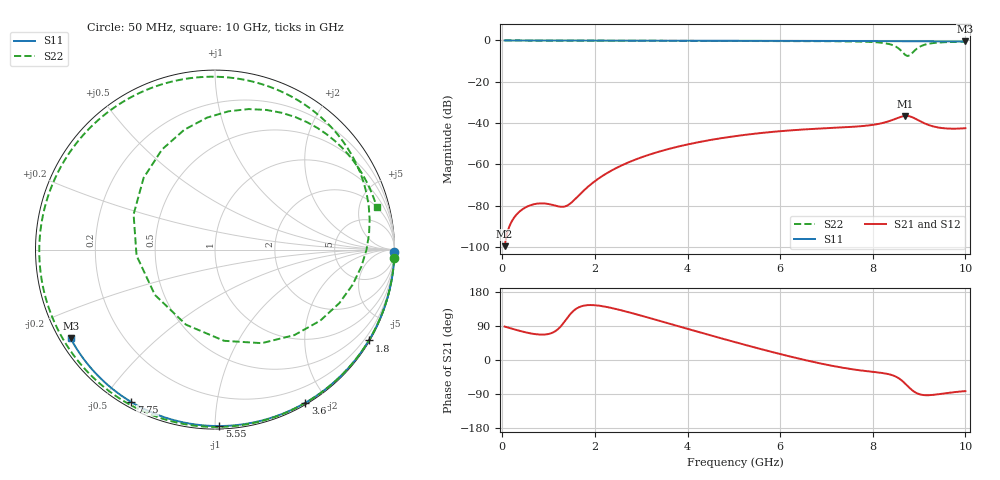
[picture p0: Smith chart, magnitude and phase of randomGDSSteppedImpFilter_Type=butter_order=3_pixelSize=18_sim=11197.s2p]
! freq	dB(S11)	phase(S11)	dB(S12)	phase(S12)
!  dB(S21)	phase(S21)	dB(S22)	phase(S22)
!S-par simulation data
#  GHz  S  DB  R 50
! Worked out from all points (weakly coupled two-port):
!   200 points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, 50 MHz to 10 GHz, reference 50 ohm
!   highest |S21| = -36.55 dB at 8.7 GHz (marker M1); lowest = -99.6 dB at 50 MHz (marker M2)
!   lowest |S11| = -0.5 dB at 10 GHz (marker M3), VSWR 34.98, Z = 1.54 - j14.1 ohm
!   |S11| at or under -10 dB: nowhere
!   |S22| runs from -7.5 to 0.0 dB; largest |S21 - S12| = 0
!   S11 on the Smith chart (normalised r, x): 50 MHz: open; 1.8 GHz: 0.03, -3.66; 3.6 GHz: 0.02, -1.75; 5.55 GHz: 0.02, -1.02; 7.75 GHz: 0.02, -0.59; 10 GHz: 0.03, -0.28
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0.05  -0.00 -0.9  -99.61 88.2  -99.61 88.2  -0.00 -2.8
0.8  -0.02 -13.7  -78.92 67.2  -78.92 67.2  -0.06 -43.9
1.4  -0.03 -23.9  -79.98 110.4  -79.98 110.4  -0.09 -74.4
1.75  -0.04 -29.7  -72.88 143.1  -72.88 143.1  -0.10 -90.8
1.8  -0.04 -30.5  -71.84 144.2  -71.84 144.2  -0.11 -93.1
2.45  -0.05 -41.2  -61.90 134.7  -61.90 134.7  -0.13 -120.8
3.4  -0.07 -56.4  -53.74 103.2  -53.74 103.2  -0.16 -156.7
3.6  -0.08 -59.5  -52.50 96.2  -52.50 96.2  -0.17 -163.7
5.05  -0.12 -81.4  -46.27 46.3  -46.27 46.3  -0.23 147.3
5.55  -0.14 -88.6  -44.90 29.9  -44.90 29.9  -0.25 130.5
6.7  -0.20 -104.6  -42.84 -4.6  -42.84 -4.6  -0.33 89.6
7.25  -0.24 -112.1  -42.21 -18.2  -42.21 -18.2  -0.40 67.5
7.75  -0.27 -118.8  -41.50 -27.7  -41.50 -27.7  -0.56 43.3
8.1  -0.30 -123.4  -40.50 -32.7  -40.50 -32.7  -0.91 20.0
8.35  -0.32 -126.7  -39.09 -37.6  -39.09 -37.6  -1.72 -6.7
8.55  -0.34 -129.3  -37.43 -47.4  -37.43 -47.4  -3.74 -47.1
8.7  -0.36 -131.3  -36.55 -62.3  -36.55 -62.3  -6.96 -111.1
8.85  -0.37 -133.3  -37.15 -79.6  -37.15 -79.6  -6.12 156.6
8.95  -0.38 -134.6  -38.24 -87.6  -38.24 -87.6  -4.00 117.9
9.1  -0.40 -136.5  -39.97 -92.6  -39.97 -92.6  -2.22 84.3
9.45  -0.43 -141.1  -42.28 -89.8  -42.28 -89.8  -0.97 45.9
10  -0.50 -148.4  -42.50 -82.1  -42.50 -82.1  -0.61 14.9
